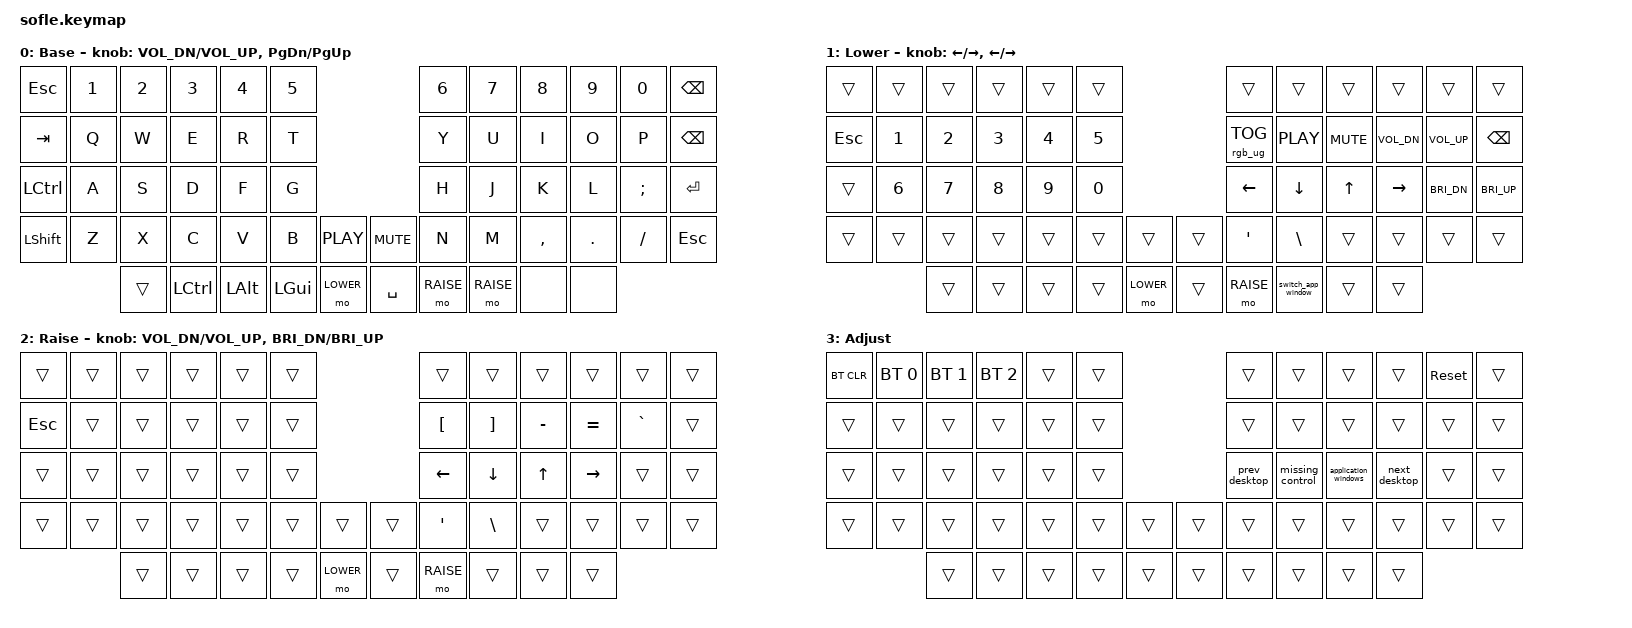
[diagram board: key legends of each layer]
/*
 * Copyright (c) 2020 The ZMK Contributors
 *
 * SPDX-License-Identifier: MIT
 */

#include <behaviors.dtsi>
#include <dt-bindings/zmk/keys.h>
#include <dt-bindings/zmk/bt.h>
#include <dt-bindings/zmk/rgb.h>
#include <dt-bindings/zmk/ext_power.h>

#define BASE 0
#define LOWER 1
#define RAISE 2
#define ADJUST 3

/ {

    macros {
        prev_desktop: prev_desktop {
            compatible = "zmk,behavior-macro";
            #binding-cells = <0>;
            bindings = <&macro_press &kp LCTRL>, <&macro_tap &kp LEFT>, <&macro_release &kp LCTRL>;
        };
        next_desktop: next_desktop {
            compatible = "zmk,behavior-macro";
            #binding-cells = <0>;
            bindings = <&macro_press &kp LCTRL>, <&macro_tap &kp RIGHT>, <&macro_release &kp LCTRL>;
        };
        missing_control: missing_control {
            compatible = "zmk,behavior-macro";
            #binding-cells = <0>;
            bindings = <&macro_press &kp LCTRL>, <&macro_tap &kp UP>, <&macro_release &kp LCTRL>;
        };
        application_windows: application_windows {
            compatible = "zmk,behavior-macro";
            #binding-cells = <0>;
            bindings = <&macro_press &kp LCTRL>, <&macro_tap &kp DOWN>, <&macro_release &kp LCTRL>;
        };
        switch_app_window: switch_app_window {
            compatible = "zmk,behavior-macro";
            #binding-cells = <0>;
            bindings = <&macro_press &kp LGUI>, <&macro_tap &kp GRAVE>, <&macro_release &kp LGUI>;
        };

    };

   // Activate ADJUST layer by pressing raise and lower
    conditional_layers {
        compatible = "zmk,conditional-layers";
        adjust_layer {
            if-layers = <LOWER RAISE>;
            then-layer = <ADJUST>;
        };
    };

    keymap {
        compatible = "zmk,keymap";

        default_layer {
            display-name = "Base";
// ------------------------------------------------------------------------------------------------------------
// |   `   |  1  |  2  |  3   |  4   |  5   |                   |  6   |  7    |  8    |  9   |   0   |       |
// |  ESC  |  Q  |  W  |  E   |  R   |  T   |                   |  Y   |  U    |  I    |  O   |   P   | BKSPC |
// |  TAB  |  A  |  S  |  D   |  F   |  G   |                   |  H   |  J    |  K    |  L   |   ;   |   '   |
// | SHIFT |  Z  |  X  |  C   |  V   |  B   |  MUTE  |  |       |  N   |  M    |  ,    |  .   |   /   | SHIFT |
//               | GUI | ALT  | CTRL | LOWER|  ENTER |  | SPACE | RAISE| CTRL  | ALT   | GUI  |
// &kp GRAVE &kp N1 &kp N2   &kp N3   &kp N4    &kp N5                           &kp N6 &kp N7    &kp N8    &kp N9   &kp N0   &none
// &kp ESC   &kp Q  &kp W    &kp E    &kp R     &kp T                            &kp Y  &kp U     &kp I     &kp O    &kp P    &kp BSPC
// &kp TAB   &kp A  &kp S    &kp D    &kp F     &kp G                            &kp H  &kp J     &kp K     &kp L    &kp SEMI &kp SQT
// &kp LSHFT &kp Z  &kp X    &kp C    &kp V     &kp B      &kp C_MUTE &none      &kp N  &kp M     &kp COMMA &kp DOT  &kp FSLH &kp RSHFT
//                  &kp LGUI &kp LALT &kp LCTRL &mo LOWER  &kp RET    &kp SPACE  &mo RAISE  &kp RCTRL &kp RALT  &kp RGUI
            bindings = <
&kp ESC   &kp N1 &kp N2    &kp N3    &kp N4    &kp N5                                 &kp N6     &kp N7    &kp N8    &kp N9   &kp N0   &kp BSPC
&kp TAB   &kp Q  &kp W     &kp E     &kp R     &kp T                                  &kp Y      &kp U     &kp I     &kp O    &kp P    &kp BSPC
&kp LCTRL &kp A  &kp S     &kp D     &kp F     &kp G                                  &kp H      &kp J     &kp K     &kp L    &kp SEMI &kp RET
&kp LSHFT &kp Z  &kp X     &kp C     &kp V     &kp B      &kp C_PLAY     &kp C_MUTE   &kp N      &kp M     &kp COMMA &kp DOT  &kp FSLH &kp ESC
                 &trans    &kp LCTRL &kp LALT  &kp LGUI   &mo LOWER      &kp SPACE    &mo RAISE  &mo RAISE &none  &none
            >;

            sensor-bindings = <&inc_dec_kp C_VOL_DN C_VOL_UP &inc_dec_kp PG_DN PG_UP >;
        };

        lower_layer {
            display-name = "Lower";
// ------------------------------------------------------------------------------------------------------------
// |       |  F1 |  F2 |  F3  |  F4  |  F5  |                   |  F6  |  F7   |  F8   |  F9  |  F10  |  F11  |
// |   `   |  1  |  2  |  3   |  4   |  5   |                   |  6   |  7    |  8    |  9   |   0   |  F12  |
// |       |  !  |  @  |  #   |  $   |  %   |                   |  ^   |  &    |  *    |  (   |   )   |   |   |
// |       |  =  |  -  |  +   |  {   |  }   |        |  |       |  [   |  ]    |  ;    |  :   |   \   |       |
//               |     |      |      |      |        |  |       |      |       |       |      |
// &trans    &kp F1    &kp F2    &kp F3      &kp F4    &kp F5                    &kp F6    &kp F7   &kp F8    &kp F9    &kp F10   &kp F11
// &kp GRAVE &kp N1    &kp N2    &kp N3      &kp N4    &kp N5                    &kp N6    &kp N7   &kp N8    &kp N9    &kp N0    &kp F12
// &trans    &kp EXCL  &kp AT    &kp HASH    &kp DLLR  &kp PRCNT                 &kp CARET &kp AMPS &kp ASTRK &kp LPAR  &kp RPAR  &kp PIPE
// &trans    &kp EQUAL &kp MINUS &kp PLUS &kp LBRC  &kp RBRC   &trans &trans  &kp LBKT  &kp RBKT &kp SEMI  &kp COLON &kp BSLH  &trans
//                     &trans    &trans      &trans    &trans     &trans &trans  &trans    &trans   &trans    &trans
            bindings = <
&trans  &trans  &trans    &trans    &trans   &trans                          &trans           &trans              &trans      &trans        &trans            &trans
&kp ESC &kp N1  &kp N2    &kp N3    &kp N4   &kp N5                          &rgb_ug RGB_TOG  &kp C_PLAY          &kp C_MUTE  &kp C_VOL_DN  &kp C_VOL_UP      &kp BSPC
&trans  &kp N6  &kp N7    &kp N8    &kp N9   &kp N0                          &kp LEFT         &kp DOWN            &kp UP      &kp RIGHT     &kp C_BRI_DN      &kp C_BRI_UP
&trans  &trans  &trans    &trans    &trans   &trans  &trans          &trans  &kp SQT          &kp BSLH            &trans      &trans        &trans            &trans
                &trans    &trans    &trans   &trans  &mo LOWER       &trans  &mo RAISE        &switch_app_window  &trans      &trans
            >;

            sensor-bindings = <&inc_dec_kp LEFT RIGHT &inc_dec_kp LEFT RIGHT>;
        };

        raise_layer {
            display-name = "Raise";
// ------------------------------------------------------------------------------------------------------------
// | BTCLR | BT1  | BT2  |  BT3  |  BT4  |  BT5 |                |      |      |       |      |       |       |
// |       | INS  | PSCR | GUI   |       |      |                | PGUP |      |   ^   |      |       |       |
// |       | ALT  | CTRL | SHIFT |       | CAPS |                | PGDN |   <- |   v   |  ->  |  DEL  | BKSPC |
// |       | UNDO | CUT  | COPY  | PASTE |      |      |  |      |      |      |       |      |       |       |
//                |      |       |       |      |      |  |      |      |      |       |      |
// &bt BT_CLR &bt BT_SEL 0 &bt BT_SEL 1 &bt BT_SEL 2 &bt BT_SEL 3 &bt BT_SEL 4                  &trans    &trans    &trans   &trans    &trans  &trans
// &trans     &kp INS      &kp PSCRN    &kp K_CMENU  &trans       &trans                        &kp PG_UP &trans    &kp UP   &trans    &kp N0  &trans
// &trans     &kp LALT     &kp LCTRL    &kp LSHFT    &trans       &kp CLCK                      &kp PG_DN &kp LEFT  &kp DOWN &kp RIGHT &kp DEL &kp BSPC
// &trans     &kp K_UNDO   &kp K_CUT    &kp K_COPY   &kp K_PASTE  &trans        &trans  &trans  &trans    &trans    &trans   &trans    &trans  &trans
//                         &trans       &trans       &trans       &trans        &trans  &trans  &trans    &trans    &trans   &trans
            bindings = <
&trans  &trans  &trans  &trans  &trans  &trans                     &trans     &trans  &trans  &trans  &trans  &trans
&kp ESC &trans  &trans  &trans  &trans  &trans                     &kp LBKT  &kp RBKT   &kp MINUS  &kp EQUAL  &kp GRAVE &trans
&trans  &trans  &trans  &trans  &trans  &trans                     &kp LEFT   &kp DOWN  &kp UP  &kp RIGHT  &trans  &trans
&trans  &trans  &trans  &trans  &trans  &trans  &trans     &trans  &kp SQT    &kp BSLH   &trans  &trans  &trans  &trans
                &trans  &trans  &trans  &trans  &mo LOWER  &trans  &mo RAISE  &trans  &trans  &trans
            >;

            sensor-bindings = <&inc_dec_kp C_VOL_DN C_VOL_UP &inc_dec_kp C_BRI_DN C_BRI_UP>;
        };

        adjust_layer {
// ----------------------------------------------------------------------------------------------------------------------------
// | BTCLR  |  BT1    |  BT2    |   BT3   |   BT4   |   BT5   |                  |      |      |       |      |       |       |
// | EXTPWR | RGB_HUD | RGB_HUI | RGB_SAD | RGB_SAI | RGB_EFF |                  |      |      |       |      |       |       |
// |        | RGB_BRD | RGB_BRI |         |         |         |                  |      |      |       |      |       |       |
// |        |         |         |         |         |         | RGB_TOG | |      |      |      |       |      |       |       |
//                    |         |         |         |         |         | |      |      |      |       |      |
// &bt BT_CLR        &bt BT_SEL 0    &bt BT_SEL 1    &bt BT_SEL 2    &bt BT_SEL 3    &bt BT_SEL 4                            &none &none &none &none &none &none
// &ext_power EP_TOG &rgb_ug RGB_HUD &rgb_ug RGB_HUI &rgb_ug RGB_SAD &rgb_ug RGB_SAI &rgb_ug RGB_EFF                         &none &none &none &none &none &none
// &none             &rgb_ug RGB_BRD &rgb_ug RGB_BRI &none           &none           &none                                   &none &none &none &none &none &none
// &none             &none           &none           &none           &none           &none            &rgb_ug RGB_TOG &none  &none &none &none &none &none &none
//                                   &none           &none           &none           &none            &none           &none  &none &none &none &none
            display-name = "Adjust";
            bindings = <
&bt BT_CLR  &bt BT_SEL 0    &bt BT_SEL 1 &bt BT_SEL 2 &trans   &trans                 &trans         &trans            &trans                &trans         &sys_reset  &trans
&trans      &trans          &trans       &trans       &trans   &trans                 &trans         &trans            &trans                &trans         &trans      &trans
&trans      &trans          &trans       &trans       &trans   &trans                 &prev_desktop  &missing_control  &application_windows  &next_desktop  &trans      &trans
&trans      &trans          &trans       &trans       &trans   &trans  &trans &trans  &trans         &trans            &trans                &trans         &trans      &trans
                            &trans       &trans       &trans   &trans  &trans &trans  &trans         &trans            &trans                &trans
            >;
        };

    };
};

